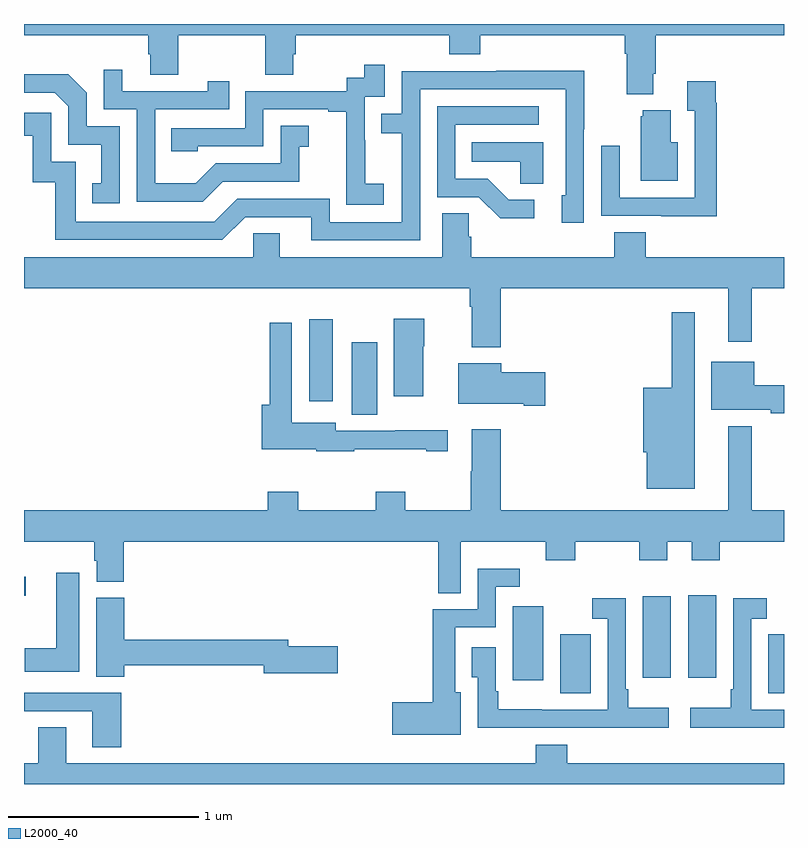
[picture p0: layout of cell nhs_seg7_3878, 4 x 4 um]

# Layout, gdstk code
import gdstk
lib = gdstk.Library(unit=1e-6, precision=1e-09)
def R(c, l, rs):  # rectangles x0, y0, x1, y1
    for r in rs: c.add(gdstk.rectangle(r[:2], r[2:], *l))
def P(c, l, *ps):  # polygons
    for p in ps: c.add(gdstk.Polygon(p, *l))
L2000_40 = (2000, 40)

nhs_seg7_3878 = lib.new_cell('nhs_seg7_3878')
R(nhs_seg7_3878, L2000_40, [(359.822,1006.477,359.983,1006.788), (360.917,1006.477,361,1006.788), (359.573,1006.547,359.734,1006.936), (360.257,1006.56,360.403,1006.987), (360.497,1006.56,360.643,1006.993), (357,1006.992,357.01,1007.09), (358.724,1007.944,358.858,1008.325), (358.502,1008.015,358.624,1008.445)])
P(nhs_seg7_3878, L2000_40, [(360.313,1009.738),(360.326,1009.738),(360.326,1009.94),(361,1009.94),(361,1010),(357,1010),(357,1009.94),(357.653,1009.94),(357.653,1009.842),(357.665,1009.842),(357.665,1009.732),(357.813,1009.732),(357.813,1009.94),(358.27,1009.94),(358.27,1009.732),(358.417,1009.732),(358.417,1009.842),(358.43,1009.842),(358.43,1009.94),(359.237,1009.94),(359.237,1009.841),(359.402,1009.841),(359.402,1009.94),(360.161,1009.94),(360.161,1009.844),(360.173,1009.844),(360.173,1009.631),(360.313,1009.631)],
  [(358.894,1009.159),(358.796,1009.159),(358.796,1009.388),(358.794,1009.388),(358.794,1009.617),(358.899,1009.617),(358.899,1009.786),(358.791,1009.786),(358.791,1009.716),(358.698,1009.716),(358.698,1009.647),(358.164,1009.647),(358.164,1009.452),(357.775,1009.452),(357.775,1009.329),(357.915,1009.329),(357.915,1009.356),(358.26,1009.356),(358.26,1009.551),(358.601,1009.551),(358.601,1009.539),(358.697,1009.539),(358.697,1009.255),(358.696,1009.255),(358.696,1009.049),(358.894,1009.049)],
  [(358.045,1009.17),(358.449,1009.17),(358.449,1009.355),(358.498,1009.355),(358.498,1009.465),(358.35,1009.465),(358.35,1009.266),(358.008,1009.266),(357.904,1009.162),(357.69,1009.162),(357.69,1009.551),(358.079,1009.551),(358.079,1009.699),(357.968,1009.699),(357.968,1009.647),(357.517,1009.647),(357.517,1009.759),(357.42,1009.759),(357.42,1009.551),(357.594,1009.551),(357.594,1009.065),(357.94,1009.065)],
  [(359.085,1009.656),(359.85,1009.656),(359.85,1009.098),(359.831,1009.098),(359.831,1008.954),(359.946,1008.954),(359.946,1009.447),(359.949,1009.447),(359.949,1009.754),(359.485,1009.754),(359.485,1009.752),(358.989,1009.752),(358.989,1009.527),(358.879,1009.527),(358.879,1009.426),(358.989,1009.426),(358.989,1008.957),(358.608,1008.957),(358.608,1009.08),(358.122,1009.08),(358.002,1008.96),(357.273,1008.96),(357.273,1009.275),(357.144,1009.275),(357.144,1009.534),(357,1009.534),(357,1009.413),(357.047,1009.413),(357.047,1009.167),(357.165,1009.167),(357.165,1008.864),(358.044,1008.864),(358.164,1008.984),(358.511,1008.984),(358.511,1008.861),(359.085,1008.861)],
  [(357.504,1009.461),(357.33,1009.461),(357.33,1009.638),(357.232,1009.736),(357,1009.736),(357,1009.638),(357.162,1009.638),(357.234,1009.566),(357.234,1009.365),(357.407,1009.365),(357.407,1009.161),(357.358,1009.161),(357.358,1009.056),(357.504,1009.056)],
  [(360.647,1009.586),(360.64,1009.586),(360.64,1009.699),(360.491,1009.699),(360.491,1009.543),(360.531,1009.543),(360.531,1009.086),(360.135,1009.086),(360.135,1009.36),(360.039,1009.36),(360.039,1008.99),(360.355,1008.99),(360.355,1008.989),(360.647,1008.989)],
  [(359.686,1009.074),(359.551,1009.074),(359.44,1009.185),(359.271,1009.185),(359.271,1009.47),(359.71,1009.47),(359.71,1009.566),(359.175,1009.566),(359.175,1009.089),(359.394,1009.089),(359.507,1008.977),(359.686,1008.977)],
  [(360.442,1009.378),(360.403,1009.378),(360.403,1009.546),(360.257,1009.546),(360.257,1009.515),(360.245,1009.515),(360.245,1009.175),(360.442,1009.175)],
  [(359.734,1009.378),(359.356,1009.378),(359.356,1009.274),(359.613,1009.274),(359.613,1009.159),(359.734,1009.159)],
  [(359.51,1008.608),(360.707,1008.608),(360.707,1008.327),(360.829,1008.327),(360.829,1008.608),(361,1008.608),(361,1008.772),(360.272,1008.772),(360.272,1008.905),(360.107,1008.905),(360.107,1008.772),(359.354,1008.772),(359.354,1008.881),(359.34,1008.881),(359.34,1009.004),(359.201,1009.004),(359.201,1008.772),(358.345,1008.772),(358.345,1008.899),(358.206,1008.899),(358.206,1008.772),(357,1008.772),(357,1008.608),(359.345,1008.608),(359.345,1008.512),(359.357,1008.512),(359.357,1008.299),(359.51,1008.299)],
  [(360.529,1008.484),(360.408,1008.484),(360.408,1008.085),(360.26,1008.085),(360.26,1007.745),(360.278,1007.745),(360.278,1007.555),(360.529,1007.555)],
  [(359.101,1008.303),(359.107,1008.303),(359.107,1008.448),(358.946,1008.448),(358.946,1008.042),(359.101,1008.042)],
  [(358.738,1007.761),(359.117,1007.761),(359.117,1007.751),(359.23,1007.751),(359.23,1007.861),(358.954,1007.861),(358.954,1007.859),(358.642,1007.859),(358.642,1007.902),(358.41,1007.902),(358.41,1008.427),(358.294,1008.427),(358.294,1007.995),(358.25,1007.995),(358.25,1007.762),(358.538,1007.762),(358.538,1007.751),(358.738,1007.751)],
  [(361,1008.098),(360.844,1008.098),(360.844,1008.223),(360.617,1008.223),(360.617,1007.969),(360.93,1007.969),(360.93,1007.951),(361,1007.951)],
  [(359.743,1008.168),(359.512,1008.168),(359.512,1008.214),(359.285,1008.214),(359.285,1008.002),(359.63,1008.002),(359.63,1007.99),(359.743,1007.99)],
  [(359.51,1007.866),(359.357,1007.866),(359.357,1007.645),(359.35,1007.645),(359.35,1007.44),(359.007,1007.44),(359.007,1007.539),(358.852,1007.539),(358.852,1007.44),(358.443,1007.44),(358.443,1007.539),(358.283,1007.539),(358.283,1007.44),(357,1007.44),(357,1007.276),(357.371,1007.276),(357.371,1007.175),(357.383,1007.175),(357.383,1007.065),(357.524,1007.065),(357.524,1007.276),(359.181,1007.276),(359.181,1007.005),(359.299,1007.005),(359.299,1007.276),(359.746,1007.276),(359.746,1007.177),(359.901,1007.177),(359.901,1007.276),(360.238,1007.276),(360.238,1007.177),(360.385,1007.177),(360.385,1007.276),(360.515,1007.276),(360.515,1007.177),(360.663,1007.177),(360.663,1007.276),(361,1007.276),(361,1007.44),(360.829,1007.44),(360.829,1007.884),(360.707,1007.884),(360.707,1007.44),(359.51,1007.44)],
  [(359.299,1006.483),(359.269,1006.483),(359.269,1006.824),(359.484,1006.824),(359.484,1007.037),(359.608,1007.037),(359.608,1007.134),(359.388,1007.134),(359.388,1006.92),(359.151,1006.92),(359.151,1006.43),(358.938,1006.43),(358.938,1006.259),(359.299,1006.259)],
  [(357.292,1007.113),(357.17,1007.113),(357.17,1006.714),(357.005,1006.714),(357.005,1006.592),(357.292,1006.592)],
  [(357.527,1006.624),(358.262,1006.624),(358.262,1006.582),(358.651,1006.582),(358.651,1006.724),(358.39,1006.724),(358.39,1006.76),(357.527,1006.76),(357.527,1006.98),(357.38,1006.98),(357.38,1006.564),(357.527,1006.564)],
  [(360.925,1006.296),(361,1006.296),(361,1006.392),(360.828,1006.392),(360.828,1006.869),(360.91,1006.869),(360.91,1006.978),(360.732,1006.978),(360.732,1006.498),(360.72,1006.498),(360.72,1006.402),(360.507,1006.402),(360.507,1006.295),(360.925,1006.295)],
  [(359.609,1006.296),(359.975,1006.296),(359.975,1006.295),(360.394,1006.295),(360.394,1006.402),(360.181,1006.402),(360.181,1006.498),(360.168,1006.498),(360.168,1006.978),(359.991,1006.978),(359.991,1006.869),(360.072,1006.869),(360.072,1006.392),(359.726,1006.392),(359.726,1006.393),(359.497,1006.393),(359.497,1006.489),(359.484,1006.489),(359.484,1006.72),(359.357,1006.72),(359.357,1006.561),(359.388,1006.561),(359.388,1006.295),(359.609,1006.295)],
  [(357.512,1006.479),(357,1006.479),(357,1006.383),(357.359,1006.383),(357.359,1006.194),(357.512,1006.194)],
  [(361,1006.108),(359.858,1006.108),(359.858,1006.207),(359.693,1006.207),(359.693,1006.108),(357.223,1006.108),(357.223,1006.298),(357.076,1006.298),(357.076,1006.108),(357,1006.108),(357,1006),(361,1006)])

lib.write_gds('nhs_seg7_3878.gds')
